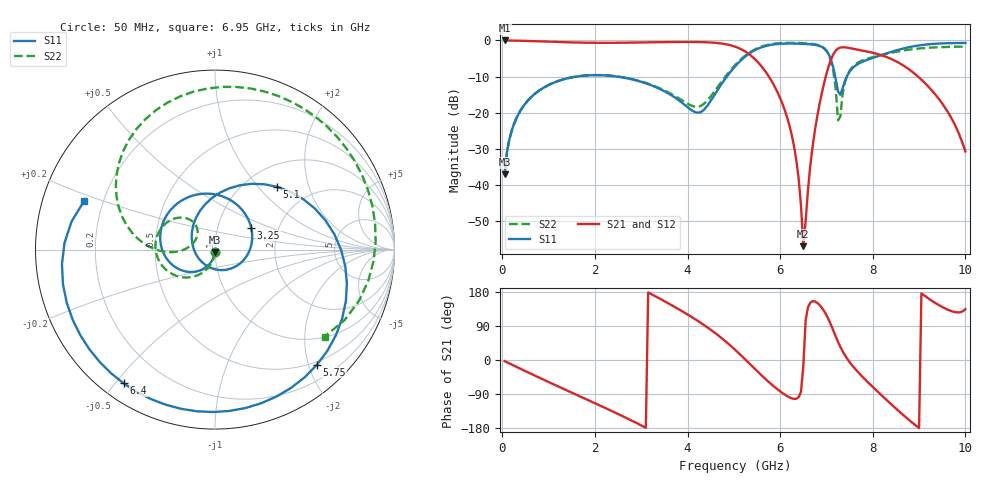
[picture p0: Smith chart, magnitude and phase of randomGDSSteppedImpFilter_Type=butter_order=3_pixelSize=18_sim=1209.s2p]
! freq	dB(S11)	phase(S11)	dB(S12)	phase(S12)
!  dB(S21)	phase(S21)	dB(S22)	phase(S22)
!S-par simulation data
#  GHz  S  DB  R 50
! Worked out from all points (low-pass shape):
!   200 points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, 50 MHz to 10 GHz, reference 50 ohm
!   highest |S21| = -0.01 dB at 50 MHz (marker M1); lowest = -56.8 dB at 6.5 GHz (marker M2)
!   |S21| within 3 dB of the highest: start of sweep to 5.239 GHz; 7.19 GHz to 7.855 GHz (665.1 MHz wide, 8.84 % of centre)
!   lowest |S11| = -36.9 dB at 50 MHz (marker M3), VSWR 1.03, Z = 49.9 - j1.42 ohm
!   |S11| at or under -10 dB: start of sweep to 1.593 GHz; 2.494 GHz to 4.847 GHz (2.353 GHz wide, 64.1 % of centre); 7.188 GHz to 7.439 GHz (251.1 MHz wide, 3.43 % of centre)
!   |S22| runs from -36.9 to -0.6 dB; largest |S21 - S12| = 0
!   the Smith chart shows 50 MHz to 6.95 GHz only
!   S11 on the Smith chart (normalised r, x): 50 MHz: 1.00, -0.03; 3.25 GHz: 1.45, +0.38; 5.1 GHz: 1.38, +1.27; 5.75 GHz: 0.45, -2.15; 6.4 GHz: 0.07, -0.53; 6.95 GHz: 0.13, +0.18
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0.05  -36.92 -93.1  -0.01 -3.0  -0.01 -3.0  -36.90 -92.3
0.2  -25.03 -103.5  -0.03 -11.9  -0.03 -11.9  -25.02 -100.5
0.5  -17.40 -123.6  -0.12 -29.4  -0.12 -29.4  -17.38 -116.2
1.75  -9.75 153.8  -0.61 -100.0  -0.61 -100.0  -9.72 -174.9
3.25  -12.55 31.3  -0.51 171.8  -0.51 171.8  -12.42 132.9
3.4  -13.39 15.0  -0.48 162.0  -0.48 162.0  -13.20 130.1
4.35  -19.21 -167.0  -0.48 92.7  -0.48 92.7  -17.55 168.1
5.05  -6.83 53.0  -1.82 24.4  -1.82 24.4  -6.50 168.3
5.1  -6.16 45.3  -2.08 18.7  -2.08 18.7  -5.85 164.7
5.75  -1.34 -48.4  -9.85 -57.6  -9.85 -57.6  -1.15 102.7
6.15  -0.85 -96.4  -21.23 -95.2  -21.23 -95.2  -0.66 62.7
6.4  -0.89 -124.3  -38.21 -97.8  -38.21 -97.8  -0.69 37.4
6.5  -0.94 -135.7  -56.81 -16.2  -56.81 -16.2  -0.74 26.6
6.7  -1.14 -160.3  -29.38 155.3  -29.38 155.3  -0.95 2.7
6.95  -2.19 159.5  -11.76 129.1  -11.76 129.1  -2.16 -38.4
7.15  -7.61 118.6  -3.78 77.1  -3.78 77.1  -8.71 -87.5
7.25  -14.07 127.0  -2.24 47.7  -2.24 47.7  -22.08 -81.6
7.45  -9.69 166.4  -1.99 3.1  -1.99 3.1  -9.57 3.1
7.75  -6.03 128.5  -2.74 -40.9  -2.74 -40.9  -5.66 -34.2
8.35  -3.36 46.4  -4.84 -111.4  -4.84 -111.4  -3.56 -95.6
9.15  -1.13 -41.5  -12.07 166.8  -12.07 166.8  -2.07 179.4
10  -0.69 -99.7  -30.64 134.3  -30.64 134.3  -1.69 98.7
